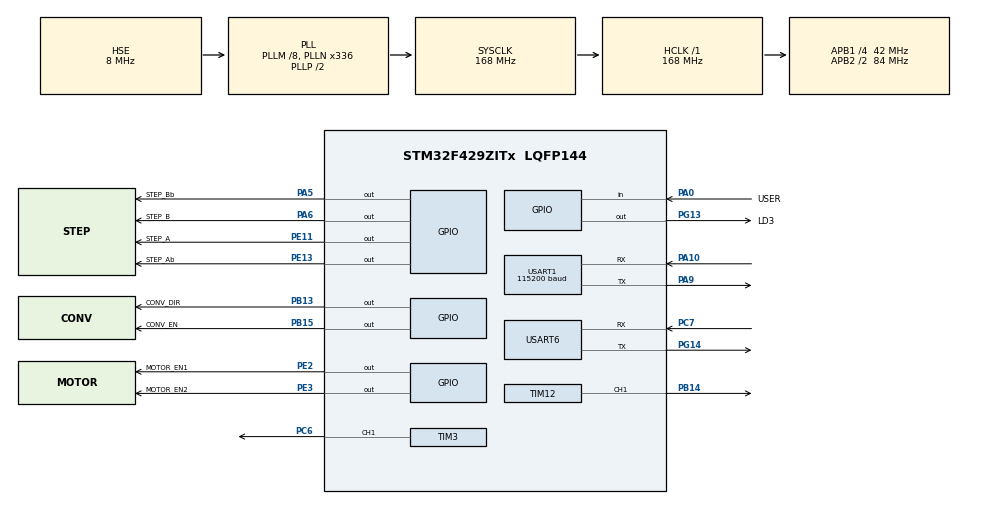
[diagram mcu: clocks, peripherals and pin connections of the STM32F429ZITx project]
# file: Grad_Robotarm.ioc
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Mcu.Family=STM32F4
Mcu.Name=STM32F429ZITx
Mcu.Package=LQFP144
NVIC.PriorityGroup=NVIC_PRIORITYGROUP_4
NVIC.TIM3_IRQn=true\:0\:0\:false\:false\:true\:true\:true
NVIC.TIM8_BRK_TIM12_IRQn=true\:0\:0\:false\:false\:true\:true\:true
NVIC.USART1_IRQn=true\:0\:0\:false\:false\:true\:true\:true
NVIC.USART6_IRQn=true\:0\:0\:false\:false\:true\:true\:true
PA0/WKUP.GPIO_Label=USER
PA0/WKUP.Signal=GPIO_Input
PA10.Mode=Asynchronous
PA10.Signal=USART1_RX
PA13.Mode=Serial_Wire
PA13.Signal=SYS_JTMS-SWDIO
PA14.Mode=Serial_Wire
PA14.Signal=SYS_JTCK-SWCLK
PA5.GPIO_Label=STEP_Bb
PA5.GPIO_Speed=GPIO_SPEED_FREQ_VERY_HIGH
PA5.Signal=GPIO_Output
PA6.GPIO_Label=STEP_B
PA6.GPIO_ModeDefaultOutputPP=GPIO_MODE_OUTPUT_PP
PA6.GPIO_PuPd=GPIO_NOPULL
PA6.GPIO_Speed=GPIO_SPEED_FREQ_VERY_HIGH
PA6.PinState=GPIO_PIN_RESET
PA6.Signal=GPIO_Output
PA9.Mode=Asynchronous
PA9.Signal=USART1_TX
PB13.GPIO_Label=CONV_DIR
PB13.GPIO_Speed=GPIO_SPEED_FREQ_VERY_HIGH
PB13.Signal=GPIO_Output
PB14.GPIO_Speed=GPIO_SPEED_FREQ_VERY_HIGH
PB14.Signal=S_TIM12_CH1
PB15.GPIO_Label=CONV_EN
PB15.GPIO_Speed=GPIO_SPEED_FREQ_VERY_HIGH
PB15.Signal=GPIO_Output
PC6.Signal=S_TIM3_CH1
PC7.Mode=Asynchronous
PC7.Signal=USART6_RX
PE11.GPIO_Label=STEP_A
PE11.GPIO_ModeDefaultOutputPP=GPIO_MODE_OUTPUT_PP
PE11.GPIO_PuPd=GPIO_NOPULL
PE11.GPIO_Speed=GPIO_SPEED_FREQ_VERY_HIGH
PE11.PinState=GPIO_PIN_RESET
PE11.Signal=GPIO_Output
PE13.GPIO_Label=STEP_Ab
PE13.GPIO_ModeDefaultOutputPP=GPIO_MODE_OUTPUT_PP
PE13.GPIO_PuPd=GPIO_NOPULL
PE13.GPIO_Speed=GPIO_SPEED_FREQ_VERY_HIGH
PE13.PinState=GPIO_PIN_RESET
PE13.Signal=GPIO_Output
PE2.GPIO_Label=MOTOR_EN1
PE2.GPIO_Speed=GPIO_SPEED_FREQ_VERY_HIGH
PE2.Signal=GPIO_Output
PE3.GPIO_Label=MOTOR_EN2
PE3.GPIO_Speed=GPIO_SPEED_FREQ_VERY_HIGH
PE3.Signal=GPIO_Output
PG13.GPIO_Label=LD3
PG13.GPIO_Speed=GPIO_SPEED_FREQ_VERY_HIGH
PG13.Signal=GPIO_Output
PG14.Mode=Asynchronous
PG14.Signal=USART6_TX
PH0/OSC_IN.Mode=HSE-External-Oscillator
PH0/OSC_IN.Signal=RCC_OSC_IN
PH1/OSC_OUT.Mode=HSE-External-Oscillator
PH1/OSC_OUT.Signal=RCC_OSC_OUT
ProjectManager.HeapSize=0x200
ProjectManager.StackSize=0x400
ProjectManager.TargetToolchain=STM32CubeIDE
RCC.48MHZClocksFreq_Value=84000000
RCC.AHBFreq_Value=168000000
RCC.APB1CLKDivider=RCC_HCLK_DIV4
RCC.APB1Freq_Value=42000000
RCC.APB1TimFreq_Value=84000000
RCC.APB2CLKDivider=RCC_HCLK_DIV2
RCC.APB2Freq_Value=84000000
RCC.APB2TimFreq_Value=168000000
RCC.CortexFreq_Value=168000000
RCC.HCLKFreq_Value=168000000
RCC.HSE_VALUE=8000000
RCC.HSI_VALUE=16000000
RCC.LSE_VALUE=32768
RCC.PLLM=8
RCC.PLLN=336
RCC.PLLSourceVirtual=RCC_PLLSOURCE_HSE
RCC.SYSCLKFreq_VALUE=168000000
RCC.SYSCLKSource=RCC_SYSCLKSOURCE_PLLCLK
RCC.VCOOutputFreq_Value=336000000
SH.S_TIM12_CH1.0=TIM12_CH1,PWM Generation1 CH1
SH.S_TIM3_CH1.0=TIM3_CH1,PWM Generation1 CH1
TIM12.Channel-PWM\ Generation1\ CH1=TIM_CHANNEL_1
TIM12.Period=100-1
TIM12.Prescaler=84-1
TIM3.Channel-PWM\ Generation1\ CH1=TIM_CHANNEL_1
TIM3.Period=1000-1
TIM3.Prescaler=1680-1
USART1.BaudRate=115200
USART1.VirtualMode=VM_ASYNC
USART6.VirtualMode=VM_ASYNC
VP_TIM12_VS_ClockSourceINT.Mode=Internal
VP_TIM3_VS_ClockSourceINT.Mode=Internal
board=custom

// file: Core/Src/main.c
/* USER CODE BEGIN Header */
/**
  ******************************************************************************
  * @file           : main.c
  * @brief          : Main program body
  ******************************************************************************
  * @attention
  *
  * <h2><center>&copy; Copyright (c) 2021 STMicroelectronics.
  * All rights reserved.</center></h2>
  *
  * This software component is licensed by ST under BSD 3-Clause license,
  * the "License"; You may not use this file except in compliance with the
  * License. You may obtain a copy of the License at:
  *                        opensource.org/licenses/BSD-3-Clause
  *
  ******************************************************************************
  */
/* USER CODE END Header */
#include "main.h"

/* USER CODE BEGIN Includes */
#include <stdio.h>
#include <string.h>
#include "StepMotor.h"
#include "dynamixel_Motor.h"
/* USER CODE END Includes */

TIM_HandleTypeDef htim3;
TIM_HandleTypeDef htim12;

UART_HandleTypeDef huart1;
UART_HandleTypeDef huart6;

/* USER CODE BEGIN PV */

int mode=0;
int standard_mode = 1;
int standby_mode = 0;
char Data[100];
/* USER CODE END PV */

void SystemClock_Config(void);
static void MX_GPIO_Init(void);
static void MX_USART1_UART_Init(void);
static void MX_TIM3_Init(void);
static void MX_TIM12_Init(void);
static void MX_USART6_UART_Init(void);

int main(void)
{

  /* MCU Configuration--------------------------------------------------------*/

  /* Reset of all peripherals, Initializes the Flash interface and the Systick. */
  HAL_Init();

  /* Configure the system clock */
  SystemClock_Config();

  /* Initialize all configured peripherals */
  MX_GPIO_Init();
  MX_USART1_UART_Init();
  MX_TIM3_Init();
  MX_TIM12_Init();
  MX_USART6_UART_Init();
  /* USER CODE BEGIN 2 */
  HAL_TIM_PWM_Start(&htim3, TIM_CHANNEL_1);
  HAL_TIM_PWM_Start(&htim12, TIM_CHANNEL_1);
  HAL_GPIO_WritePin(MOTOR_EN1_GPIO_Port, MOTOR_EN1_Pin, GPIO_PIN_SET);
  HAL_GPIO_WritePin(MOTOR_EN2_GPIO_Port, MOTOR_EN2_Pin, GPIO_PIN_SET);
  HAL_GPIO_WritePin(MOTOR_EN2_GPIO_Port, CONV_EN_Pin, GPIO_PIN_SET);
  HAL_GPIO_WritePin(MOTOR_EN2_GPIO_Port, CONV_DIR_Pin , GPIO_PIN_RESET);

//    TIM12->CCR1 = 60; // 컨베이어벨트 속도 적정
//    TIM3->CCR1 = 120; // 컨베이어벨트 속도 적정

 //  	  TIM3->CCR1 = 100; // 열기

  /* USER CODE END 2 */

  /* Infinite loop */
  while (1)
  {

    /* USER CODE BEGIN 3 */
#if 1
	   if(standard_mode == 1)
	  {
  	  TIM12->CCR1 = 70; // 컨베이어벨트 속도 적정

  	  TIM3->CCR1 = 100; // 열기
  	  arm_up();
  	  standard_mode = 0;
	  }

	  if(standby_mode == 0)
	  {
	    if(HAL_UART_Receive(&huart6, (uint8_t*)Data,1, 100)== HAL_OK)
	    {

		  if(Data[0] == 'A')
		  	  {
			  mode = 1;
		  	  standby_mode = 1;
		  	  }
		  else if(Data[0] == 'B')
			  {
			  mode = 2;
			  standby_mode = 1;
			  }
		  else if(Data[0] == 'C')
			  {
			  mode = 3;
			  standby_mode = 1;
			  }
		  else if (Data[0] == 'D')
			  {
			  mode = 4;
			  standby_mode = 1;
			  }
		  else
		  {
			  mode = 0;
			  Data[0] = 0;
		  }
	    }
	  }
	  if(standby_mode == 1)
	  {
		  if(HAL_UART_Receive(&huart6, (uint8_t*)Data,1, 100)== HAL_OK)
		  {
			  if(Data[0] == 'O')
				  standby_mode = 2;
		  }
	  }
	  if(standby_mode == 2)
	  {
		  switch(mode)
		  {

		  case 1 :// 시리얼로 'A'가 들어왔을때

			  TIM12->CCR1 = 0; // 컨베이어벨트 정지
			  arm_grabposition();
			  HAL_Delay(1500);
			  for(int a = 100; a<131; a++)
  			 	  {
  				  TIM3->CCR1 = a; // Grab
  				  HAL_Delay(30);
  			 	  }

			  arm_grabup();
			  HAL_Delay(1000);
			  for(int i=0;i<5;i++)
			  	 {
				  StepMotorClockwise();
			  	 }

			  arm_forward();
			  HAL_Delay(1500);
			  TIM3->CCR1 = 115; // 열기
			  HAL_Delay(1000);
			  arm_comeback();
			  HAL_Delay(2000);
			  for(int i=0;i<5;i++)
			  	  {
				  StepMotorCounterClockwise();
			  	  }

		 	  	  HAL_Delay(1000);
		 	  	  mode = 0;
		 	  	  standard_mode = 1;
		 	  	  standby_mode = 0;
		 	  	  Data[0] = 0;
		 	  	  break;

		  case 2 :

			  TIM12->CCR1 = 0; // 컨베이어벨트 정지
			  arm_grabposition();
			  HAL_Delay(1500);
			  for(int a = 100; a<131; a++)
			  	  {
  	  				  TIM3->CCR1 = a; // Grab
  	  				  HAL_Delay(30);
  	  			  }
			  for(int i=0;i<2;i++)
  		  		  {
  		  			 StepMotorCounterClockwise();
  		  		  }
  			  arm_forward();
  		 	  HAL_Delay(1500);
  		 	  TIM3->CCR1 = 100; // 열기
  		 	  HAL_Delay(1000);
  		 	  arm_comeback();
  		 	  HAL_Delay(2000);
  		 	  for(int i=0;i<2;i++)
  		 	  {
  		 		  StepMotorClockwise();
  		 	  }
  		 	  mode = 0;
  		 	  standard_mode = 1;
  		 	  standby_mode = 0;
  		 	  Data[0] = 0;
  	  		  break;

		  case 3 :

			  TIM12->CCR1 = 0; // 컨베이어벨트 정지
			  arm_grabposition();
			  HAL_Delay(1500);
			  for(int a = 100; a<131; a++)
			  {
  				  TIM3->CCR1 = a; // Grab
  				  HAL_Delay(30);
			  }
			  arm_grabup();
			  HAL_Delay(1000);
			  for(int i=0;i<8;i++)
		  	  {
		  		  StepMotorCounterClockwise();
		  	  }

			  arm_forward();
			  HAL_Delay(1500);
			  TIM3->CCR1 = 100; // 열기
			  HAL_Delay(1500);
			  arm_comeback();
			  HAL_Delay(2000);
			  for(int i=0;i<8;i++)
			  {
				  StepMotorClockwise();
			  }

		 	  HAL_Delay(1000);
		 	  mode = 0;
		 	  standard_mode = 1;
		 	  standby_mode = 0;
		 	  Data[0] = 0;
		 	  break;

		  case 4 :

			  TIM12->CCR1 = 0; // 컨베이어벨트 정지
			  arm_grabposition();
			  HAL_Delay(1500);
			  for(int a = 100; a<131; a++)
  			  {
  				  TIM3->CCR1 = a; // Grab
  				  HAL_Delay(30);
  			  }
			  arm_grabup();
			  HAL_Delay(1000);
			  for(int i=0;i<14;i++)
			  {
				  StepMotorCounterClockwise();
			  }

			  arm_3forward();
			  HAL_Delay(1500);
			  TIM3->CCR1 = 100; // 열기
			  HAL_Delay(1500);
			  arm_comeback();
			  HAL_Delay(2000);
			  for(int i=0;i<14;i++)
			  {
				  StepMotorClockwise();
			  }

			  HAL_Delay(1000);
			  mode = 0;
			  standard_mode = 1;
			  standby_mode = 0;
			  Data[0] = 0;
			  break;
		  case 0 :
  		  break;
  	  }
	  }
#elif 0
	  arm_up();
	  HAL_Delay(500);
	  arm_grabup();
	  HAL_Delay(500);
	  arm_grabposition();
	  HAL_Delay(500);
	  arm_forward();
	  HAL_Delay(500);
	  arm_3forward();
	  HAL_Delay(500);
	  arm_comeback();
	  HAL_Delay(500);
#endif
  }
  /* USER CODE END 3 */
}

void SystemClock_Config(void)
{
  RCC_OscInitTypeDef RCC_OscInitStruct = {0};
  RCC_ClkInitTypeDef RCC_ClkInitStruct = {0};

  /** Configure the main internal regulator output voltage
  */
  __HAL_RCC_PWR_CLK_ENABLE();
  __HAL_PWR_VOLTAGESCALING_CONFIG(PWR_REGULATOR_VOLTAGE_SCALE1);
  /** Initializes the RCC Oscillators according to the specified parameters
  * in the RCC_OscInitTypeDef structure.
  */
  RCC_OscInitStruct.OscillatorType = RCC_OSCILLATORTYPE_HSE;
  RCC_OscInitStruct.HSEState = RCC_HSE_ON;
  RCC_OscInitStruct.PLL.PLLState = RCC_PLL_ON;
  RCC_OscInitStruct.PLL.PLLSource = RCC_PLLSOURCE_HSE;
  RCC_OscInitStruct.PLL.PLLM = 8;
  RCC_OscInitStruct.PLL.PLLN = 336;
  RCC_OscInitStruct.PLL.PLLP = RCC_PLLP_DIV2;
  RCC_OscInitStruct.PLL.PLLQ = 4;
  if (HAL_RCC_OscConfig(&RCC_OscInitStruct) != HAL_OK)
  {
    Error_Handler();
  }
  /** Initializes the CPU, AHB and APB buses clocks
  */
  RCC_ClkInitStruct.ClockType = RCC_CLOCKTYPE_HCLK|RCC_CLOCKTYPE_SYSCLK
                              |RCC_CLOCKTYPE_PCLK1|RCC_CLOCKTYPE_PCLK2;
  RCC_ClkInitStruct.SYSCLKSource = RCC_SYSCLKSOURCE_PLLCLK;
  RCC_ClkInitStruct.AHBCLKDivider = RCC_SYSCLK_DIV1;
  RCC_ClkInitStruct.APB1CLKDivider = RCC_HCLK_DIV4;
  RCC_ClkInitStruct.APB2CLKDivider = RCC_HCLK_DIV2;

  if (HAL_RCC_ClockConfig(&RCC_ClkInitStruct, FLASH_LATENCY_5) != HAL_OK)
  {
    Error_Handler();
  }
}

static void MX_TIM3_Init(void)
{

  TIM_ClockConfigTypeDef sClockSourceConfig = {0};
  TIM_MasterConfigTypeDef sMasterConfig = {0};
  TIM_OC_InitTypeDef sConfigOC = {0};

  htim3.Instance = TIM3;
  htim3.Init.Prescaler = 1680-1;
  htim3.Init.CounterMode = TIM_COUNTERMODE_UP;
  htim3.Init.Period = 1000-1;
  htim3.Init.ClockDivision = TIM_CLOCKDIVISION_DIV1;
  htim3.Init.AutoReloadPreload = TIM_AUTORELOAD_PRELOAD_DISABLE;
  if (HAL_TIM_Base_Init(&htim3) != HAL_OK)
  {
    Error_Handler();
  }
  sClockSourceConfig.ClockSource = TIM_CLOCKSOURCE_INTERNAL;
  if (HAL_TIM_ConfigClockSource(&htim3, &sClockSourceConfig) != HAL_OK)
  {
    Error_Handler();
  }
  if (HAL_TIM_PWM_Init(&htim3) != HAL_OK)
  {
    Error_Handler();
  }
  sMasterConfig.MasterOutputTrigger = TIM_TRGO_RESET;
  sMasterConfig.MasterSlaveMode = TIM_MASTERSLAVEMODE_DISABLE;
  if (HAL_TIMEx_MasterConfigSynchronization(&htim3, &sMasterConfig) != HAL_OK)
  {
    Error_Handler();
  }
  sConfigOC.OCMode = TIM_OCMODE_PWM1;
  sConfigOC.Pulse = 0;
  sConfigOC.OCPolarity = TIM_OCPOLARITY_HIGH;
  sConfigOC.OCFastMode = TIM_OCFAST_DISABLE;
  if (HAL_TIM_PWM_ConfigChannel(&htim3, &sConfigOC, TIM_CHANNEL_1) != HAL_OK)
  {
    Error_Handler();
  }
  HAL_TIM_MspPostInit(&htim3);

}

static void MX_TIM12_Init(void)
{

  TIM_ClockConfigTypeDef sClockSourceConfig = {0};
  TIM_OC_InitTypeDef sConfigOC = {0};

  htim12.Instance = TIM12;
  htim12.Init.Prescaler = 84-1;
  htim12.Init.CounterMode = TIM_COUNTERMODE_UP;
  htim12.Init.Period = 100-1;
  htim12.Init.ClockDivision = TIM_CLOCKDIVISION_DIV1;
  htim12.Init.AutoReloadPreload = TIM_AUTORELOAD_PRELOAD_DISABLE;
  if (HAL_TIM_Base_Init(&htim12) != HAL_OK)
  {
    Error_Handler();
  }
  sClockSourceConfig.ClockSource = TIM_CLOCKSOURCE_INTERNAL;
  if (HAL_TIM_ConfigClockSource(&htim12, &sClockSourceConfig) != HAL_OK)
  {
    Error_Handler();
  }
  if (HAL_TIM_PWM_Init(&htim12) != HAL_OK)
  {
    Error_Handler();
  }
  sConfigOC.OCMode = TIM_OCMODE_PWM1;
  sConfigOC.Pulse = 0;
  sConfigOC.OCPolarity = TIM_OCPOLARITY_HIGH;
  sConfigOC.OCFastMode = TIM_OCFAST_DISABLE;
  if (HAL_TIM_PWM_ConfigChannel(&htim12, &sConfigOC, TIM_CHANNEL_1) != HAL_OK)
  {
    Error_Handler();
  }
  HAL_TIM_MspPostInit(&htim12);

}

static void MX_USART1_UART_Init(void)
{

  huart1.Instance = USART1;
  huart1.Init.BaudRate = 115200;
  huart1.Init.WordLength = UART_WORDLENGTH_8B;
  huart1.Init.StopBits = UART_STOPBITS_1;
  huart1.Init.Parity = UART_PARITY_NONE;
  huart1.Init.Mode = UART_MODE_TX_RX;
  huart1.Init.HwFlowCtl = UART_HWCONTROL_NONE;
  huart1.Init.OverSampling = UART_OVERSAMPLING_16;
  if (HAL_UART_Init(&huart1) != HAL_OK)
  {
    Error_Handler();
  }

}

static void MX_USART6_UART_Init(void)
{

  huart6.Instance = USART6;
  huart6.Init.BaudRate = 115200;
  huart6.Init.WordLength = UART_WORDLENGTH_8B;
  huart6.Init.StopBits = UART_STOPBITS_1;
  huart6.Init.Parity = UART_PARITY_NONE;
  huart6.Init.Mode = UART_MODE_TX_RX;
  huart6.Init.HwFlowCtl = UART_HWCONTROL_NONE;
  huart6.Init.OverSampling = UART_OVERSAMPLING_16;
  if (HAL_UART_Init(&huart6) != HAL_OK)
  {
    Error_Handler();
  }

}

static void MX_GPIO_Init(void)
{
  GPIO_InitTypeDef GPIO_InitStruct = {0};

  /* GPIO Ports Clock Enable */
  __HAL_RCC_GPIOE_CLK_ENABLE();
  __HAL_RCC_GPIOH_CLK_ENABLE();
  __HAL_RCC_GPIOA_CLK_ENABLE();
  __HAL_RCC_GPIOB_CLK_ENABLE();
  __HAL_RCC_GPIOC_CLK_ENABLE();
  __HAL_RCC_GPIOG_CLK_ENABLE();

  /*Configure GPIO pin Output Level */
  HAL_GPIO_WritePin(GPIOE, MOTOR_EN1_Pin|MOTOR_EN2_Pin|STEP_A_Pin|STEP_Ab_Pin, GPIO_PIN_RESET);

  /*Configure GPIO pin Output Level */
  HAL_GPIO_WritePin(GPIOA, STEP_Bb_Pin|STEP_B_Pin, GPIO_PIN_RESET);

  /*Configure GPIO pin Output Level */
  HAL_GPIO_WritePin(GPIOB, CONV_DIR_Pin|CONV_EN_Pin, GPIO_PIN_RESET);

  /*Configure GPIO pin Output Level */
  HAL_GPIO_WritePin(LD3_GPIO_Port, LD3_Pin, GPIO_PIN_RESET);

  /*Configure GPIO pins : MOTOR_EN1_Pin MOTOR_EN2_Pin STEP_A_Pin STEP_Ab_Pin */
  GPIO_InitStruct.Pin = MOTOR_EN1_Pin|MOTOR_EN2_Pin|STEP_A_Pin|STEP_Ab_Pin;
  GPIO_InitStruct.Mode = GPIO_MODE_OUTPUT_PP;
  GPIO_InitStruct.Pull = GPIO_NOPULL;
  GPIO_InitStruct.Speed = GPIO_SPEED_FREQ_VERY_HIGH;
  HAL_GPIO_Init(GPIOE, &GPIO_InitStruct);

  /*Configure GPIO pin : USER_Pin */
  GPIO_InitStruct.Pin = USER_Pin;
  GPIO_InitStruct.Mode = GPIO_MODE_INPUT;
  GPIO_InitStruct.Pull = GPIO_NOPULL;
  HAL_GPIO_Init(USER_GPIO_Port, &GPIO_InitStruct);

  /*Configure GPIO pins : STEP_Bb_Pin STEP_B_Pin */
  GPIO_InitStruct.Pin = STEP_Bb_Pin|STEP_B_Pin;
  GPIO_InitStruct.Mode = GPIO_MODE_OUTPUT_PP;
  GPIO_InitStruct.Pull = GPIO_NOPULL;
  GPIO_InitStruct.Speed = GPIO_SPEED_FREQ_VERY_HIGH;
  HAL_GPIO_Init(GPIOA, &GPIO_InitStruct);

  /*Configure GPIO pins : CONV_DIR_Pin CONV_EN_Pin */
  GPIO_InitStruct.Pin = CONV_DIR_Pin|CONV_EN_Pin;
  GPIO_InitStruct.Mode = GPIO_MODE_OUTPUT_PP;
  GPIO_InitStruct.Pull = GPIO_NOPULL;
  GPIO_InitStruct.Speed = GPIO_SPEED_FREQ_VERY_HIGH;
  HAL_GPIO_Init(GPIOB, &GPIO_InitStruct);

  /*Configure GPIO pin : LD3_Pin */
  GPIO_InitStruct.Pin = LD3_Pin;
  GPIO_InitStruct.Mode = GPIO_MODE_OUTPUT_PP;
  GPIO_InitStruct.Pull = GPIO_NOPULL;
  GPIO_InitStruct.Speed = GPIO_SPEED_FREQ_VERY_HIGH;
  HAL_GPIO_Init(LD3_GPIO_Port, &GPIO_InitStruct);

}

void Error_Handler(void)
{
}

/************************ (C) COPYRIGHT STMicroelectronics *****END OF FILE****/
